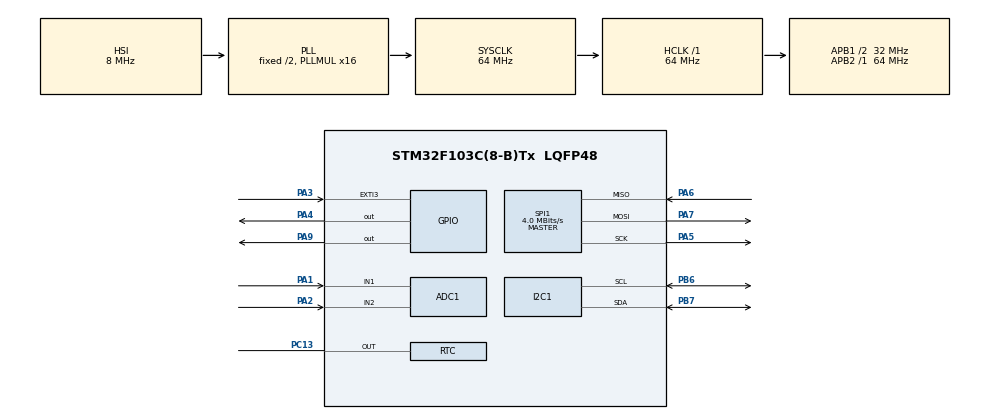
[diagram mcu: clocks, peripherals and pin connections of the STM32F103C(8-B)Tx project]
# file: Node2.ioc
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ADC1.Channel-0\#ChannelRegularConversion=ADC_CHANNEL_1
ADC1.Channel-1\#ChannelRegularConversion=ADC_CHANNEL_2
ADC1.ContinuousConvMode=ENABLE
ADC1.NbrOfConversion=2
ADC1.NbrOfConversionFlag=1
ADC1.Rank-0\#ChannelRegularConversion=1
ADC1.Rank-1\#ChannelRegularConversion=2
ADC1.SamplingTime-0\#ChannelRegularConversion=ADC_SAMPLETIME_239CYCLES_5
ADC1.SamplingTime-1\#ChannelRegularConversion=ADC_SAMPLETIME_239CYCLES_5
ADC1.master=1
Dma.ADC1.0.Direction=DMA_PERIPH_TO_MEMORY
Dma.ADC1.0.Instance=DMA1_Channel1
Dma.ADC1.0.MemDataAlignment=DMA_MDATAALIGN_WORD
Dma.ADC1.0.MemInc=DMA_MINC_ENABLE
Dma.ADC1.0.Mode=DMA_CIRCULAR
Dma.ADC1.0.PeriphDataAlignment=DMA_PDATAALIGN_WORD
Dma.ADC1.0.PeriphInc=DMA_PINC_DISABLE
Dma.ADC1.0.Priority=DMA_PRIORITY_LOW
Dma.Request0=ADC1
Mcu.Family=STM32F1
Mcu.Name=STM32F103C(8-B)Tx
Mcu.Package=LQFP48
NVIC.DMA1_Channel1_IRQn=true\:0\:0\:false\:false\:true\:false\:true\:true
NVIC.EXTI3_IRQn=true\:1\:0\:true\:false\:true\:true\:true\:true
NVIC.PriorityGroup=NVIC_PRIORITYGROUP_4
NVIC.RTC_Alarm_IRQn=true\:2\:0\:true\:false\:true\:true\:true\:true
PA1.Signal=ADCx_IN1
PA13.Mode=Serial_Wire
PA13.Signal=SYS_JTMS-SWDIO
PA14.Mode=Serial_Wire
PA14.Signal=SYS_JTCK-SWCLK
PA2.Signal=ADCx_IN2
PA3.Signal=GPXTI3
PA4.PinState=GPIO_PIN_SET
PA4.Signal=GPIO_Output
PA5.Mode=Full_Duplex_Master
PA5.Signal=SPI1_SCK
PA6.Mode=Full_Duplex_Master
PA6.Signal=SPI1_MISO
PA7.Mode=Full_Duplex_Master
PA7.Signal=SPI1_MOSI
PA9.GPIO_PuPd=GPIO_PULLUP
PA9.Signal=GPIO_Output
PB6.GPIO_Speed=GPIO_SPEED_FREQ_HIGH
PB6.Mode=I2C
PB6.Signal=I2C1_SCL
PB7.Mode=I2C
PB7.Signal=I2C1_SDA
PC13-TAMPER-RTC.Mode=RTC OUT
PC13-TAMPER-RTC.Signal=RTC_OUT
ProjectManager.HeapSize=0x200
ProjectManager.StackSize=0x400
ProjectManager.TargetToolchain=MDK-ARM V5.32
RCC.ADCPresc=RCC_ADCPCLK2_DIV6
RCC.AHBFreq_Value=64000000
RCC.APB1CLKDivider=RCC_HCLK_DIV2
RCC.APB1Freq_Value=32000000
RCC.APB1TimFreq_Value=64000000
RCC.APB2Freq_Value=64000000
RCC.APB2TimFreq_Value=64000000
RCC.HCLKFreq_Value=64000000
RCC.PLLMUL=RCC_PLL_MUL16
RCC.SYSCLKFreq_VALUE=64000000
RCC.SYSCLKSource=RCC_SYSCLKSOURCE_PLLCLK
RCC.USBFreq_Value=64000000
RTC.OutPut=RTC_OUTPUTSOURCE_ALARM
SH.ADCx_IN1.0=ADC1_IN1,IN1
SH.ADCx_IN2.0=ADC1_IN2,IN2
SPI1.BaudRatePrescaler=SPI_BAUDRATEPRESCALER_16
SPI1.CRCCalculation=SPI_CRCCALCULATION_DISABLE
SPI1.CalculateBaudRate=4.0 MBits/s
SPI1.Direction=SPI_DIRECTION_2LINES
SPI1.Mode=SPI_MODE_MASTER
SPI1.VirtualType=VM_MASTER
VP_RTC_VS_RTC_Activate.Mode=RTC_Enabled
VP_RTC_VS_RTC_Calendar.Mode=RTC_Calendar
board=custom

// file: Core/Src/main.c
/* USER CODE BEGIN Header */
/**
  ******************************************************************************
  * @file           : main.c
  * @brief          : Main program body
  ******************************************************************************
  * @attention
  *
  * Copyright (c) 2026 STMicroelectronics.
  * All rights reserved.
  *
  * This software is licensed under terms that can be found in the LICENSE file
  * in the root directory of this software component.
  * If no LICENSE file comes with this software, it is provided AS-IS.
  *
  ******************************************************************************
  */
/* USER CODE END Header */
#include "main.h"

/* USER CODE BEGIN Includes */
#include "string.h"
#include "stdlib.h"
#include "stdio.h"
#include "ctype.h"

#define SSD1306_I2C_ADDR 0x78
#define SHT30_ADDR 0x44 << 1
/* USER CODE END Includes */

ADC_HandleTypeDef hadc1;
DMA_HandleTypeDef hdma_adc1;

I2C_HandleTypeDef hi2c1;

RTC_HandleTypeDef hrtc;

SPI_HandleTypeDef hspi1;

void SystemClock_Config(void);
static void MX_GPIO_Init(void);
static void MX_DMA_Init(void);
static void MX_I2C1_Init(void);
static void MX_ADC1_Init(void);
static void MX_SPI1_Init(void);
static void MX_RTC_Init(void);

/* USER CODE BEGIN 0 */
char M[36], HN[60], HG[60];
float temp,hum;
uint8_t SS=0, CDTGN=0, irqFlags, irq, len, length, TGN;
volatile uint8_t Co_ngat_nhanDL=0;
unsigned int AD[2], percent, percent1;
RTC_AlarmTypeDef sAlarm = {0};

static const uint16_t Font6x8[] = {
0x0000, 0x0000, 0x0000, 0x0000, 0x0000, 0x0000, 0x0000, 0x0000,  // sp
0x2000, 0x2000, 0x2000, 0x2000, 0x2000, 0x0000, 0x2000, 0x0000,  // !
0x5000, 0x5000, 0x5000, 0x0000, 0x0000, 0x0000, 0x0000, 0x0000,  // "
0x5000, 0x5000, 0xf800, 0x5000, 0xf800, 0x5000, 0x5000, 0x0000,  // #
0x2000, 0x7800, 0xa000, 0x7000, 0x2800, 0xf000, 0x2000, 0x0000,  // $
0xc000, 0xc800, 0x1000, 0x2000, 0x4000, 0x9800, 0x1800, 0x0000,  // %
0x4000, 0xa000, 0xa000, 0x4000, 0xa800, 0x9000, 0x6800, 0x0000,  // &
0x3000, 0x3000, 0x2000, 0x4000, 0x0000, 0x0000, 0x0000, 0x0000,  // '
0x1000, 0x2000, 0x4000, 0x4000, 0x4000, 0x2000, 0x1000, 0x0000,  // (
0x4000, 0x2000, 0x1000, 0x1000, 0x1000, 0x2000, 0x4000, 0x0000,  // )
0x2000, 0xa800, 0x7000, 0xf800, 0x7000, 0xa800, 0x2000, 0x0000,  // *
0x0000, 0x2000, 0x2000, 0xf800, 0x2000, 0x2000, 0x0000, 0x0000,  // +
0x0000, 0x0000, 0x0000, 0x0000, 0x3000, 0x3000, 0x2000, 0x0000,  // ,
0x0000, 0x0000, 0x0000, 0xf800, 0x0000, 0x0000, 0x0000, 0x0000,  // -
0x0000, 0x0000, 0x0000, 0x0000, 0x0000, 0x3000, 0x3000, 0x0000,  // .
0x0000, 0x0800, 0x1000, 0x2000, 0x4000, 0x8000, 0x0000, 0x0000,  // /
0x7000, 0x8800, 0x9800, 0xa800, 0xc800, 0x8800, 0x7000, 0x0000,  // 0
0x2000, 0x6000, 0x2000, 0x2000, 0x2000, 0x2000, 0x7000, 0x0000,  // 1
0x7000, 0x8800, 0x0800, 0x7000, 0x8000, 0x8000, 0xf800, 0x0000,  // 2
0xf800, 0x0800, 0x1000, 0x3000, 0x0800, 0x8800, 0x7000, 0x0000,  // 3
0x1000, 0x3000, 0x5000, 0x9000, 0xf800, 0x1000, 0x1000, 0x0000,  // 4
0xf800, 0x8000, 0xf000, 0x0800, 0x0800, 0x8800, 0x7000, 0x0000,  // 5
0x3800, 0x4000, 0x8000, 0xf000, 0x8800, 0x8800, 0x7000, 0x0000,  // 6
0xf800, 0x0800, 0x0800, 0x1000, 0x2000, 0x4000, 0x8000, 0x0000,  // 7
0x7000, 0x8800, 0x8800, 0x7000, 0x8800, 0x8800, 0x7000, 0x0000,  // 8
0x7000, 0x8800, 0x8800, 0x7800, 0x0800, 0x1000, 0xe000, 0x0000,  // 9
0x0000, 0x0000, 0x2000, 0x0000, 0x2000, 0x0000, 0x0000, 0x0000,  // :
0x0000, 0x0000, 0x2000, 0x0000, 0x2000, 0x2000, 0x4000, 0x0000,  // ;
0x0800, 0x1000, 0x2000, 0x4000, 0x2000, 0x1000, 0x0800, 0x0000,  // <
0x0000, 0x0000, 0xf800, 0x0000, 0xf800, 0x0000, 0x0000, 0x0000,  // =
0x4000, 0x2000, 0x1000, 0x0800, 0x1000, 0x2000, 0x4000, 0x0000,  // >
0x7000, 0x8800, 0x0800, 0x3000, 0x2000, 0x0000, 0x2000, 0x0000,  // ?
0x7000, 0x8800, 0xa800, 0xb800, 0xb000, 0x8000, 0x7800, 0x0000,  // @
0x2000, 0x5000, 0x8800, 0x8800, 0xf800, 0x8800, 0x8800, 0x0000,  // A
0xf000, 0x8800, 0x8800, 0xf000, 0x8800, 0x8800, 0xf000, 0x0000,  // B
0x7000, 0x8800, 0x8000, 0x8000, 0x8000, 0x8800, 0x7000, 0x0000,  // C
0xf000, 0x8800, 0x8800, 0x8800, 0x8800, 0x8800, 0xf000, 0x0000,  // D
0xf800, 0x8000, 0x8000, 0xf000, 0x8000, 0x8000, 0xf800, 0x0000,  // E
0xf800, 0x8000, 0x8000, 0xf000, 0x8000, 0x8000, 0x8000, 0x0000,  // F
0x7800, 0x8800, 0x8000, 0x8000, 0x9800, 0x8800, 0x7800, 0x0000,  // G
0x8800, 0x8800, 0x8800, 0xf800, 0x8800, 0x8800, 0x8800, 0x0000,  // H
0x7000, 0x2000, 0x2000, 0x2000, 0x2000, 0x2000, 0x7000, 0x0000,  // I
0x3800, 0x1000, 0x1000, 0x1000, 0x1000, 0x9000, 0x6000, 0x0000,  // J
0x8800, 0x9000, 0xa000, 0xc000, 0xa000, 0x9000, 0x8800, 0x0000,  // K
0x8000, 0x8000, 0x8000, 0x8000, 0x8000, 0x8000, 0xf800, 0x0000,  // L
0x8800, 0xd800, 0xa800, 0xa800, 0xa800, 0x8800, 0x8800, 0x0000,  // M
0x8800, 0x8800, 0xc800, 0xa800, 0x9800, 0x8800, 0x8800, 0x0000,  // N
0x7000, 0x8800, 0x8800, 0x8800, 0x8800, 0x8800, 0x7000, 0x0000,  // O
0xf000, 0x8800, 0x8800, 0xf000, 0x8000, 0x8000, 0x8000, 0x0000,  // P
0x7000, 0x8800, 0x8800, 0x8800, 0xa800, 0x9000, 0x6800, 0x0000,  // Q
0xf000, 0x8800, 0x8800, 0xf000, 0xa000, 0x9000, 0x8800, 0x0000,  // R
0x7000, 0x8800, 0x8000, 0x7000, 0x0800, 0x8800, 0x7000, 0x0000,  // S
0xf800, 0xa800, 0x2000, 0x2000, 0x2000, 0x2000, 0x2000, 0x0000,  // T
0x8800, 0x8800, 0x8800, 0x8800, 0x8800, 0x8800, 0x7000, 0x0000,  // U
0x8800, 0x8800, 0x8800, 0x8800, 0x8800, 0x5000, 0x2000, 0x0000,  // V
0x8800, 0x8800, 0x8800, 0xa800, 0xa800, 0xa800, 0x5000, 0x0000,  // W
0x8800, 0x8800, 0x5000, 0x2000, 0x5000, 0x8800, 0x8800, 0x0000,  // X
0x8800, 0x8800, 0x5000, 0x2000, 0x2000, 0x2000, 0x2000, 0x0000,  // Y
0xf800, 0x0800, 0x1000, 0x7000, 0x4000, 0x8000, 0xf800, 0x0000,  // Z
0x7800, 0x4000, 0x4000, 0x4000, 0x4000, 0x4000, 0x7800, 0x0000,  // [
0x0000, 0x8000, 0x4000, 0x2000, 0x1000, 0x0800, 0x0000, 0x0000,  /* \ */
0x7800, 0x0800, 0x0800, 0x0800, 0x0800, 0x0800, 0x7800, 0x0000,  // ]
0x2000, 0x5000, 0x8800, 0x0000, 0x0000, 0x0000, 0x0000, 0x0000,  // ^
0x0000, 0x0000, 0x0000, 0x0000, 0x0000, 0x0000, 0xf800, 0x0000,  // _
0x6000, 0x6000, 0x2000, 0x1000, 0x0000, 0x0000, 0x0000, 0x0000,  // `
0x0000, 0x0000, 0x6000, 0x1000, 0x7000, 0x9000, 0x7800, 0x0000,  // a
0x8000, 0x8000, 0xb000, 0xc800, 0x8800, 0xc800, 0xb000, 0x0000,  // b
0x0000, 0x0000, 0x7000, 0x8800, 0x8000, 0x8800, 0x7000, 0x0000,  // c
0x0800, 0x0800, 0x6800, 0x9800, 0x8800, 0x9800, 0x6800, 0x0000,  // d
0x0000, 0x0000, 0x7000, 0x8800, 0xf800, 0x8000, 0x7000, 0x0000,  // e
0x1000, 0x2800, 0x2000, 0x7000, 0x2000, 0x2000, 0x2000, 0x0000,  // f
0x0000, 0x0000, 0x7000, 0x9800, 0x9800, 0x6800, 0x0800, 0x0000,  // g
0x8000, 0x8000, 0xb000, 0xc800, 0x8800, 0x8800, 0x8800, 0x0000,  // h
0x2000, 0x0000, 0x6000, 0x2000, 0x2000, 0x2000, 0x7000, 0x0000,  // i
0x1000, 0x0000, 0x1000, 0x1000, 0x1000, 0x9000, 0x6000, 0x0000,  // j
0x8000, 0x8000, 0x9000, 0xa000, 0xc000, 0xa000, 0x9000, 0x0000,  // k
0x6000, 0x2000, 0x2000, 0x2000, 0x2000, 0x2000, 0x7000, 0x0000,  // l
0x0000, 0x0000, 0xd000, 0xa800, 0xa800, 0xa800, 0xa800, 0x0000,  // m
0x0000, 0x0000, 0xb000, 0xc800, 0x8800, 0x8800, 0x8800, 0x0000,  // n
0x0000, 0x0000, 0x7000, 0x8800, 0x8800, 0x8800, 0x7000, 0x0000,  // o
0x0000, 0x0000, 0xb000, 0xc800, 0xc800, 0xb000, 0x8000, 0x0000,  // p
0x0000, 0x0000, 0x6800, 0x9800, 0x9800, 0x6800, 0x0800, 0x0000,  // q
0x0000, 0x0000, 0xb000, 0xc800, 0x8000, 0x8000, 0x8000, 0x0000,  // r
0x0000, 0x0000, 0x7800, 0x8000, 0x7000, 0x0800, 0xf000, 0x0000,  // s
0x2000, 0x2000, 0xf800, 0x2000, 0x2000, 0x2800, 0x1000, 0x0000,  // t
0x0000, 0x0000, 0x8800, 0x8800, 0x8800, 0x9800, 0x6800, 0x0000,  // u
0x0000, 0x0000, 0x8800, 0x8800, 0x8800, 0x5000, 0x2000, 0x0000,  // v
0x0000, 0x0000, 0x8800, 0x8800, 0xa800, 0xa800, 0x5000, 0x0000,  // w
0x0000, 0x0000, 0x8800, 0x5000, 0x2000, 0x5000, 0x8800, 0x0000,  // x
0x0000, 0x0000, 0x8800, 0x8800, 0x7800, 0x0800, 0x8800, 0x0000,  // y
0x0000, 0x0000, 0xf800, 0x1000, 0x2000, 0x4000, 0xf800, 0x0000,  // z
0x1000, 0x2000, 0x2000, 0x4000, 0x2000, 0x2000, 0x1000, 0x0000,  // {
0x2000, 0x2000, 0x2000, 0x0000, 0x2000, 0x2000, 0x2000, 0x0000,  // |
0x4000, 0x2000, 0x2000, 0x1000, 0x2000, 0x2000, 0x4000, 0x0000,  // }
0x4000, 0xa800, 0x1000, 0x0000, 0x0000, 0x0000, 0x0000, 0x0000,  // ~
};
void SSD1306_Ghilenh(uint8_t cmd) {
    uint8_t data[2];
    data[0] = 0x00;   // Co = 0, D/C = 0
    data[1] = cmd;
    HAL_I2C_Master_Transmit(&hi2c1, SSD1306_I2C_ADDR, data, 2, 1000);
}
void SSD1306_Ghidulieu(uint8_t *data, uint16_t size) {
    uint8_t data_t[size+1];
    data_t[0] = 0x40; // Co = 0, D/C = 1
    memcpy(&data_t[1], data, size);
    HAL_I2C_Master_Transmit(&hi2c1, SSD1306_I2C_ADDR,data_t, size+1, 1000);
}
void SSD1306_Init(void) {
    HAL_Delay(100);

    SSD1306_Ghilenh(0xAE); // Display OFF
    SSD1306_Ghilenh(0x20); // Set Memory Addressing Mode
    SSD1306_Ghilenh(0x00); // Page addressing mode
    SSD1306_Ghilenh(0xB0); // Set Page Start Address
    SSD1306_Ghilenh(0xC8); // COM Output Scan Direction
    SSD1306_Ghilenh(0x00); // Low column address
    SSD1306_Ghilenh(0x10); // High column address
    SSD1306_Ghilenh(0x40); // Start line address
    SSD1306_Ghilenh(0x81); // Contrast control
    SSD1306_Ghilenh(0x7F); // Contrast value
    SSD1306_Ghilenh(0xA1); // Segment re-map
    SSD1306_Ghilenh(0xA6); // Normal display
    SSD1306_Ghilenh(0xA8); // Multiplex ratio
    SSD1306_Ghilenh(0x3F); // Duty = 1/64
    SSD1306_Ghilenh(0xA4); // Output follows RAM
    SSD1306_Ghilenh(0xD3); // Display offset
    SSD1306_Ghilenh(0x00); // No offset
    SSD1306_Ghilenh(0xD5); // Display clock divide ratio
    SSD1306_Ghilenh(0xF0); // Set divide ratio
    SSD1306_Ghilenh(0xD9); // Pre-charge period
    SSD1306_Ghilenh(0x22);
    SSD1306_Ghilenh(0xDA); // COM pins hardware config
    SSD1306_Ghilenh(0x12);
    SSD1306_Ghilenh(0xDB); // VCOMH deselect level
    SSD1306_Ghilenh(0x20);
    SSD1306_Ghilenh(0x8D); // Charge pump
    SSD1306_Ghilenh(0x14);
    SSD1306_Ghilenh(0xAF); // Display ON
		HAL_Delay(100);
}
void SSD1306_Xoamanhinh(void) {
    uint8_t clear[128];
    memset(clear, 0x00, 128);
    for (uint8_t page = 0; page < 8; page++) {
        SSD1306_Ghilenh(0xB0 + page); // chon page
        SSD1306_Ghilenh(0x00);        // cot thap
        SSD1306_Ghilenh(0x10);        // cot cao
        SSD1306_Ghidulieu(clear, 128);
    }
}
void SSD1306_Hienthikitu(uint8_t x, uint8_t y, char c) {
    uint8_t index = c - 32;
    uint8_t buf[6];

    for (int col = 0; col < 6; col++) {
        buf[col] = 0;
        for (int row = 0; row < 8; row++) {
            uint16_t val = Font6x8[index * 8 + row];

            if (val & (1 << (15 - col))) { //la cach doc mot pixel tu du lieu font bang cach kiem tra bit trong so 16-bit. No đam bao ta lay đung pixel theo cot hien tai, tu bit cao xuong bit thap.
                buf[col] |= (1 << row); //ghi pixel sang vao đung vi tri trong cot du lieu
            }
        }
    }
    SSD1306_Ghilenh(0xB0 + y); // chon page
    SSD1306_Ghilenh(((x & 0xF0) >> 4) | 0x10); // cot cao (4 bit cao)
    SSD1306_Ghilenh((x & 0x0F)); // cột thap (4 bit thap)
    SSD1306_Ghidulieu(buf, 6); // ghi 6 cot dữu lieu ky tu
}

void SSD1306_Ghi_chuoi(uint8_t x, uint8_t y, char *str) {
    while (*str) {
        SSD1306_Hienthikitu(x, y, *str);
        x += 6;
			 if (x + 6 > 128)
				 {
					x = 0;
					y += 1;
					if (y * 8 >= 64)
						{
							break;
						}
				}
        str++;
    }
}
void SHT30_StartMeasurement()
{
    uint8_t cmd[2] = {0x2C, 0x06}; //do chinh xac cao,do khong dung clock stretching (master khong bi giu SCL)
    HAL_I2C_Master_Transmit(&hi2c1, SHT30_ADDR, cmd, 2, 1000);
    HAL_Delay(20);
}

uint8_t SHT30_GetValue(uint8_t *data) {
    if (HAL_I2C_Master_Receive(&hi2c1, SHT30_ADDR, data, 6, 1000) == HAL_OK) {
        return 1;
    }
    return 0;
}

uint8_t SHT30_DDL(float *temperature, float *humidity) {
    uint8_t data[6];

    SHT30_StartMeasurement();

    if (!SHT30_GetValue(data)) return 0;

    uint16_t rawTemp = (data[0] << 8) | data[1];
    uint16_t rawHum  = (data[3] << 8) | data[4];

    *temperature = -45.0f + 175.0f * ((float)rawTemp / 65535.0f);
    *humidity    = 100.0f * ((float)rawHum / 65535.0f);

    return 1;
}
void CBDAD(uint16_t v1)
{
    const int16_t minVal = 450;
    const int16_t maxVal = 3300;

    int16_t v1_safe = v1;

    if (v1_safe < minVal) v1_safe = minVal;
    if (v1_safe > maxVal) v1_safe = maxVal;

    int32_t val = 100 - ((v1_safe - minVal) * 100 / (maxVal - minVal));

    if (val < 0) val = 0;
    if (val > 100) val = 100;

    percent = (uint8_t)val;
}

void CBAS(uint16_t v1)
{
    const int16_t minVal = 0;
    const int16_t maxVal = 4095;

    int16_t v1_safe = v1;

    if (v1_safe < minVal) v1_safe = minVal;
    if (v1_safe > maxVal) v1_safe = maxVal;

    int32_t val = 100 - ((v1_safe - minVal) * 100 / (maxVal - minVal));

    if (val < 0) val = 0;
    if (val > 100) val = 100;

    percent1 = (uint8_t)val;
}
void LORA_WriteReg(uint8_t addr, uint8_t value) {
    uint8_t buf[2];
    buf[0] = addr | 0x80; // bit7=1 => ghi
    buf[1] = value;

    HAL_GPIO_WritePin(GPIOA,GPIO_PIN_4,0);
    HAL_SPI_Transmit(&hspi1, buf, 2, 1000);
    HAL_GPIO_WritePin(GPIOA,GPIO_PIN_4,1);
}

uint8_t LORA_ReadReg(uint8_t addr) {
    uint8_t buf[2];
    uint8_t rx[2];
    buf[0] = addr & 0x7F; // bit7=0 => doc

    HAL_GPIO_WritePin(GPIOA,GPIO_PIN_4,0);
    HAL_SPI_TransmitReceive(&hspi1, buf, rx, 2, 1000);
    HAL_GPIO_WritePin(GPIOA,GPIO_PIN_4,1);

    return rx[1]; // byte du lieu
}
void LORA_Init(void) {
		HAL_Delay(1000);
    // Đat che do Sleep
    LORA_WriteReg(0x01, 0x00);

    // Chuyen sang che do LoRa
    LORA_WriteReg(0x01, 0x80);
		HAL_Delay(10);
    // Cấu hình tần số 433 MHz
    LORA_WriteReg(0x06, 0x6C); // FrfMsb
    LORA_WriteReg(0x07, 0x80); // FrfMid
    LORA_WriteReg(0x08, 0x00); // FrfLsb

    // Cau hinh bang thong, coding rate, spreading factor
    LORA_WriteReg(0x1D, 0x78); // BW=125kHz, CR=4/8, Implicit Header OFF
    LORA_WriteReg(0x1E, 0xC4); // SF=12, CRC on
		LORA_WriteReg(0x26, 0x0C);	//LowDataRateOptimize=ON, AGC=ON 0x04
		//Dat lai dia chi mac dinh cho FIFO, base, tx, rx
		LORA_WriteReg(0x0D, 0x00);
		LORA_WriteReg(0x0E, 0x00);
		LORA_WriteReg(0x0F, 0x00);

		// Công suất phát 17dBm, gioi han dong phat 100mA
    LORA_WriteReg(0x09, 0x8F);
		LORA_WriteReg(0x0B, 0x2B);

		LORA_WriteReg(0x39, 0x12);// Dong bo voi ben node1

		LORA_WriteReg(0x40, 0x00);//bat ngat RXdone
		LORA_WriteReg(0x12, 0xFF);// Xoa co TRQ FIFO

    // Chế độ RX continous
    LORA_WriteReg(0x01, 0x85);
}

void LORA_Send(uint8_t *data, uint8_t length) {

		LORA_WriteReg(0x01, 0x81);// Che do standby
		LORA_WriteReg(0x12, (1 << 3));// Xoa co TX done

    // Đat lai dia chi FIFO TX
    LORA_WriteReg(0x0E, 0x00);
    LORA_WriteReg(0x0D, 0x00);

    // Ghi du lieu vào thanh ghi FIFO
    HAL_GPIO_WritePin(GPIOA,GPIO_PIN_4,0);
    uint8_t addr = 0x00 | 0x80;
    HAL_SPI_Transmit(&hspi1, &addr, 1, 1000);
    HAL_SPI_Transmit(&hspi1, data, length, 1000);
    HAL_GPIO_WritePin(GPIOA,GPIO_PIN_4,1);

    // Đat đo dai goi tin
    LORA_WriteReg(0x22, length);

    // Chuyen sang che đo TX de truyen
    LORA_WriteReg(0x01, 0x83);

		irqFlags=LORA_ReadReg(0x12);
		while(!(LORA_ReadReg(0x12) & 0x08));// Cho truyen xong
		LORA_WriteReg(0x12, (1 << 3));// Xoa co TX done Bit 7: RxTimeout Bit 6: RxDone Bit 5: PayloadCrcError Bit 4: ValidHeader Bit 3: TxDone Bit 2: CadDone Bit 1: FhssChangeChannel Bit 0: CadDetected

		LORA_WriteReg(0x01, 0x85);//Chuyen lai RX continous

}
uint8_t LORA_Receive(uint8_t *buffer)
{

		irq = LORA_ReadReg(0x12);
    if (!(irq & 0x40)) { // ktr bit 0x40 (RxDone)
        return 0;
    }
		else
		{
    length = LORA_ReadReg(0x13); // Kiem tra so byte nhan duoc
    uint8_t fifoAddr = LORA_ReadReg(0x10); // dia chi thanh ghi fifo hien tai

    LORA_WriteReg(0x0D, fifoAddr);// Dat con tro fifo toi vi tri de nhan du lieu

    HAL_GPIO_WritePin(GPIOA,GPIO_PIN_4,0);

    uint8_t addr = 0x00 & 0x7F;
    HAL_SPI_Transmit(&hspi1, &addr, 1, 1000);//Gui dia chi doc fifo

    HAL_SPI_Receive(&hspi1, buffer, length, 1000);
    HAL_GPIO_WritePin(GPIOA,GPIO_PIN_4,1);

		LORA_WriteReg(0x12, (1 << 6));
		return length;
		}
}
void Set_Alarm(uint8_t sleepMinutes)
{
    RTC_TimeTypeDef sTime;
    HAL_RTC_GetTime(&hrtc, &sTime, RTC_FORMAT_BIN);
    memset(&sAlarm, 0, sizeof(sAlarm));

    uint32_t totalMinutes = sTime.Hours * 60 + sTime.Minutes + sleepMinutes;

    sAlarm.AlarmTime.Hours   = (totalMinutes / 60) % 24;
    sAlarm.AlarmTime.Minutes = totalMinutes % 60;
    sAlarm.AlarmTime.Seconds = sTime.Seconds;

		sAlarm.Alarm = RTC_ALARM_A;

    if (HAL_RTC_SetAlarm_IT(&hrtc, &sAlarm, RTC_FORMAT_BIN) != HAL_OK)
    {
        Error_Handler();
    }
}

/* USER CODE END 0 */

int main(void)
{

  /* MCU Configuration--------------------------------------------------------*/

  /* Reset of all peripherals, Initializes the Flash interface and the Systick. */
  HAL_Init();

  /* Configure the system clock */
  SystemClock_Config();

  /* Initialize all configured peripherals */
  MX_GPIO_Init();
  MX_DMA_Init();
  MX_I2C1_Init();
  MX_ADC1_Init();
  MX_SPI1_Init();
  MX_RTC_Init();

  /* Infinite loop */
  /* USER CODE BEGIN WHILE */
	HAL_GPIO_WritePin(GPIOA,GPIO_PIN_9,0);
	SSD1306_Init();
	SSD1306_Xoamanhinh();
	LORA_Init();
	SSD1306_Ghi_chuoi(0,3,"Cho tin hieu khoi dong tu node 1");
	while(!SS)
	{
		len = LORA_Receive(HN);
    if (len > 0)
    {
			HN[len] = '\0';
			if (strstr((char*)HN, "hello") != NULL)
			{
					sprintf(HG,"hi");
					LORA_Send((uint8_t*)HG,strlen(HG));
					SS = 1;
		}
		}
	}
	SSD1306_Xoamanhinh();
	SSD1306_Ghi_chuoi(0,3,"Cho cai dat thoi gian ngu");
	while(!CDTGN)
	{
    len = LORA_Receive(HN);
    if (len > 0)
    {
        HN[len] = '\0';
        int isNumber = 1;
        for (int i = 0; i < len; i++)
        {
            if (!isdigit(HN[i]))
            {
                isNumber = 0;
                break;
            }
        }
        if (isNumber)
        {
            TGN= atoi((char*)HN);
            sprintf(HG, "Alarm set");
            LORA_Send((uint8_t*)HG, strlen(HG));
            CDTGN = 1;
        }
    }
	}
	SSD1306_Xoamanhinh();
	HAL_ADC_Start_DMA(&hadc1,AD,2);
  while (1)
  {
		CBAS(AD[0]);
		CBDAD(AD[1]);
		SHT30_DDL(&temp, &hum);

		sprintf(M,"Cd anh sang: %d %%  ",percent1);
		SSD1306_Ghi_chuoi(0,0,M);
		HAL_Delay(10);
		sprintf(M,"Do am dat: %d %%  ",percent);
		SSD1306_Ghi_chuoi(0,1,M);
		HAL_Delay(10);
		sprintf(M,"Nhiet do: %.1f C  ",temp);
		SSD1306_Ghi_chuoi(0,2,M);
		HAL_Delay(10);
		sprintf(M,"Do am khong khi: %.1f %%  ",hum);
		SSD1306_Ghi_chuoi(0,3,M);

    if (Co_ngat_nhanDL)
		{
    len =LORA_Receive(HN);

    if (len > 0)
			{
					HN[len] = '\0';

					if (strstr((char*)HN, "ts") != NULL)
					{
							sprintf(HG,"%d,%d,%.2f,%.2f",percent1,percent,temp,hum);
							LORA_Send((uint8_t*)HG, strlen(HG));
					}
					else if (strstr((char*)HN, "sleep") != NULL)
					{
							LORA_WriteReg(0x12, 0xFF);
							LORA_WriteReg(0x01, 0x00);
							HAL_GPIO_WritePin(GPIOA,GPIO_PIN_9,1);
							SSD1306_Ghilenh(0xAE); // Display OFF
							Set_Alarm(TGN);
							HAL_SuspendTick();
							HAL_PWR_EnterSTOPMode(PWR_LOWPOWERREGULATOR_ON, PWR_STOPENTRY_WFI);

							HAL_ResumeTick();
							SystemClock_Config();
							SSD1306_Ghilenh(0xAF); // Display ON
							HAL_GPIO_WritePin(GPIOA,GPIO_PIN_9,0);
							HAL_Delay(1000);
							LORA_WriteReg(0x01, 0x85);
					}
			}
		Co_ngat_nhanDL = 0;
		LORA_WriteReg(0x12, (1 << 6));
	}

    /* USER CODE END WHILE */

  }
}

void SystemClock_Config(void)
{
  RCC_OscInitTypeDef RCC_OscInitStruct = {0};
  RCC_ClkInitTypeDef RCC_ClkInitStruct = {0};
  RCC_PeriphCLKInitTypeDef PeriphClkInit = {0};

  /** Initializes the RCC Oscillators according to the specified parameters
  * in the RCC_OscInitTypeDef structure.
  */
  RCC_OscInitStruct.OscillatorType = RCC_OSCILLATORTYPE_HSI|RCC_OSCILLATORTYPE_LSI;
  RCC_OscInitStruct.HSIState = RCC_HSI_ON;
  RCC_OscInitStruct.HSICalibrationValue = RCC_HSICALIBRATION_DEFAULT;
  RCC_OscInitStruct.LSIState = RCC_LSI_ON;
  RCC_OscInitStruct.PLL.PLLState = RCC_PLL_ON;
  RCC_OscInitStruct.PLL.PLLSource = RCC_PLLSOURCE_HSI_DIV2;
  RCC_OscInitStruct.PLL.PLLMUL = RCC_PLL_MUL16;
  if (HAL_RCC_OscConfig(&RCC_OscInitStruct) != HAL_OK)
  {
    Error_Handler();
  }

  /** Initializes the CPU, AHB and APB buses clocks
  */
  RCC_ClkInitStruct.ClockType = RCC_CLOCKTYPE_HCLK|RCC_CLOCKTYPE_SYSCLK
                              |RCC_CLOCKTYPE_PCLK1|RCC_CLOCKTYPE_PCLK2;
  RCC_ClkInitStruct.SYSCLKSource = RCC_SYSCLKSOURCE_PLLCLK;
  RCC_ClkInitStruct.AHBCLKDivider = RCC_SYSCLK_DIV1;
  RCC_ClkInitStruct.APB1CLKDivider = RCC_HCLK_DIV2;
  RCC_ClkInitStruct.APB2CLKDivider = RCC_HCLK_DIV1;

  if (HAL_RCC_ClockConfig(&RCC_ClkInitStruct, FLASH_LATENCY_2) != HAL_OK)
  {
    Error_Handler();
  }
  PeriphClkInit.PeriphClockSelection = RCC_PERIPHCLK_RTC|RCC_PERIPHCLK_ADC;
  PeriphClkInit.RTCClockSelection = RCC_RTCCLKSOURCE_LSI;
  PeriphClkInit.AdcClockSelection = RCC_ADCPCLK2_DIV6;
  if (HAL_RCCEx_PeriphCLKConfig(&PeriphClkInit) != HAL_OK)
  {
    Error_Handler();
  }
}

static void MX_ADC1_Init(void)
{

  ADC_ChannelConfTypeDef sConfig = {0};

  /** Common config
  */
  hadc1.Instance = ADC1;
  hadc1.Init.ScanConvMode = ADC_SCAN_ENABLE;
  hadc1.Init.ContinuousConvMode = ENABLE;
  hadc1.Init.DiscontinuousConvMode = DISABLE;
  hadc1.Init.ExternalTrigConv = ADC_SOFTWARE_START;
  hadc1.Init.DataAlign = ADC_DATAALIGN_RIGHT;
  hadc1.Init.NbrOfConversion = 2;
  if (HAL_ADC_Init(&hadc1) != HAL_OK)
  {
    Error_Handler();
  }

  /** Configure Regular Channel
  */
  sConfig.Channel = ADC_CHANNEL_1;
  sConfig.Rank = ADC_REGULAR_RANK_1;
  sConfig.SamplingTime = ADC_SAMPLETIME_239CYCLES_5;
  if (HAL_ADC_ConfigChannel(&hadc1, &sConfig) != HAL_OK)
  {
    Error_Handler();
  }

  /** Configure Regular Channel
  */
  sConfig.Channel = ADC_CHANNEL_2;
  sConfig.Rank = ADC_REGULAR_RANK_2;
  if (HAL_ADC_ConfigChannel(&hadc1, &sConfig) != HAL_OK)
  {
    Error_Handler();
  }

}

static void MX_I2C1_Init(void)
{

  hi2c1.Instance = I2C1;
  hi2c1.Init.ClockSpeed = 100000;
  hi2c1.Init.DutyCycle = I2C_DUTYCYCLE_2;
  hi2c1.Init.OwnAddress1 = 0;
  hi2c1.Init.AddressingMode = I2C_ADDRESSINGMODE_7BIT;
  hi2c1.Init.DualAddressMode = I2C_DUALADDRESS_DISABLE;
  hi2c1.Init.OwnAddress2 = 0;
  hi2c1.Init.GeneralCallMode = I2C_GENERALCALL_DISABLE;
  hi2c1.Init.NoStretchMode = I2C_NOSTRETCH_DISABLE;
  if (HAL_I2C_Init(&hi2c1) != HAL_OK)
  {
    Error_Handler();
  }

}

static void MX_RTC_Init(void)
{

  RTC_TimeTypeDef sTime = {0};
  RTC_DateTypeDef DateToUpdate = {0};
  RTC_AlarmTypeDef sAlarm = {0};

  /** Initialize RTC Only
  */
  hrtc.Instance = RTC;
  hrtc.Init.AsynchPrediv = RTC_AUTO_1_SECOND;
  hrtc.Init.OutPut = RTC_OUTPUTSOURCE_ALARM;
  if (HAL_RTC_Init(&hrtc) != HAL_OK)
  {
    Error_Handler();
  }

  /** Initialize RTC and set the Time and Date
  */
  sTime.Hours = 0x0;
  sTime.Minutes = 0x0;
  sTime.Seconds = 0x0;

  if (HAL_RTC_SetTime(&hrtc, &sTime, RTC_FORMAT_BCD) != HAL_OK)
  {
    Error_Handler();
  }
  DateToUpdate.WeekDay = RTC_WEEKDAY_MONDAY;
  DateToUpdate.Month = RTC_MONTH_JANUARY;
  DateToUpdate.Date = 0x1;
  DateToUpdate.Year = 0x0;

  if (HAL_RTC_SetDate(&hrtc, &DateToUpdate, RTC_FORMAT_BCD) != HAL_OK)
  {
    Error_Handler();
  }

  /** Enable the Alarm A
  */
  sAlarm.AlarmTime.Hours = 0x0;
  sAlarm.AlarmTime.Minutes = 0x0;
  sAlarm.AlarmTime.Seconds = 0x0;
  sAlarm.Alarm = RTC_ALARM_A;
  if (HAL_RTC_SetAlarm_IT(&hrtc, &sAlarm, RTC_FORMAT_BCD) != HAL_OK)
  {
    Error_Handler();
  }

}

static void MX_SPI1_Init(void)
{

  /* SPI1 parameter configuration*/
  hspi1.Instance = SPI1;
  hspi1.Init.Mode = SPI_MODE_MASTER;
  hspi1.Init.Direction = SPI_DIRECTION_2LINES;
  hspi1.Init.DataSize = SPI_DATASIZE_8BIT;
  hspi1.Init.CLKPolarity = SPI_POLARITY_LOW;
  hspi1.Init.CLKPhase = SPI_PHASE_1EDGE;
  hspi1.Init.NSS = SPI_NSS_SOFT;
  hspi1.Init.BaudRatePrescaler = SPI_BAUDRATEPRESCALER_16;
  hspi1.Init.FirstBit = SPI_FIRSTBIT_MSB;
  hspi1.Init.TIMode = SPI_TIMODE_DISABLE;
  hspi1.Init.CRCCalculation = SPI_CRCCALCULATION_DISABLE;
  hspi1.Init.CRCPolynomial = 10;
  if (HAL_SPI_Init(&hspi1) != HAL_OK)
  {
    Error_Handler();
  }

}

static void MX_DMA_Init(void)
{

  /* DMA controller clock enable */
  __HAL_RCC_DMA1_CLK_ENABLE();

  /* DMA interrupt init */
  /* DMA1_Channel1_IRQn interrupt configuration */
  HAL_NVIC_SetPriority(DMA1_Channel1_IRQn, 0, 0);
  HAL_NVIC_EnableIRQ(DMA1_Channel1_IRQn);

}

static void MX_GPIO_Init(void)
{
  GPIO_InitTypeDef GPIO_InitStruct = {0};

  /* GPIO Ports Clock Enable */
  __HAL_RCC_GPIOC_CLK_ENABLE();
  __HAL_RCC_GPIOA_CLK_ENABLE();
  __HAL_RCC_GPIOB_CLK_ENABLE();

  /*Configure GPIO pin Output Level */
  HAL_GPIO_WritePin(GPIOA, GPIO_PIN_4, GPIO_PIN_SET);

  /*Configure GPIO pin Output Level */
  HAL_GPIO_WritePin(GPIOA, GPIO_PIN_9, GPIO_PIN_RESET);

  /*Configure GPIO pin : PA3 */
  GPIO_InitStruct.Pin = GPIO_PIN_3;
  GPIO_InitStruct.Mode = GPIO_MODE_IT_RISING;
  GPIO_InitStruct.Pull = GPIO_NOPULL;
  HAL_GPIO_Init(GPIOA, &GPIO_InitStruct);

  /*Configure GPIO pin : PA4 */
  GPIO_InitStruct.Pin = GPIO_PIN_4;
  GPIO_InitStruct.Mode = GPIO_MODE_OUTPUT_PP;
  GPIO_InitStruct.Pull = GPIO_NOPULL;
  GPIO_InitStruct.Speed = GPIO_SPEED_FREQ_LOW;
  HAL_GPIO_Init(GPIOA, &GPIO_InitStruct);

  /*Configure GPIO pin : PA9 */
  GPIO_InitStruct.Pin = GPIO_PIN_9;
  GPIO_InitStruct.Mode = GPIO_MODE_OUTPUT_PP;
  GPIO_InitStruct.Pull = GPIO_PULLUP;
  GPIO_InitStruct.Speed = GPIO_SPEED_FREQ_LOW;
  HAL_GPIO_Init(GPIOA, &GPIO_InitStruct);

  /* EXTI interrupt init*/
  HAL_NVIC_SetPriority(EXTI3_IRQn, 1, 0);
  HAL_NVIC_EnableIRQ(EXTI3_IRQn);

}

void Error_Handler(void)
{
  __disable_irq();
  while (1)
  {
  }
}
